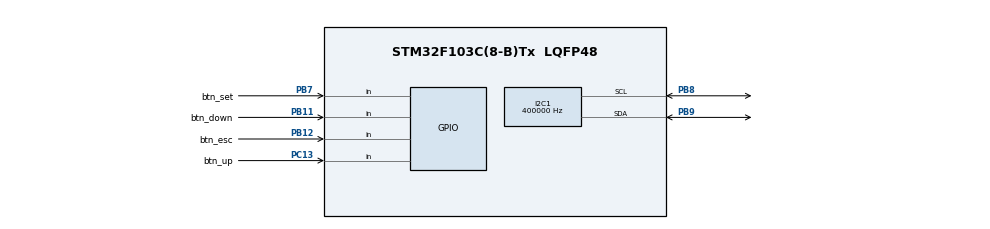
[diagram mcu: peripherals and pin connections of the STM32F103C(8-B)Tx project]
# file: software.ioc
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I2C1.ClockSpeed=400000
I2C1.I2C_Mode=I2C_Fast
Mcu.Family=STM32F1
Mcu.Name=STM32F103C(8-B)Tx
Mcu.Package=LQFP48
NVIC.PriorityGroup=NVIC_PRIORITYGROUP_4
NVIC.TIM1_BRK_IRQn=true\:0\:0\:false\:false\:true\:true\:true\:true
NVIC.TIM1_UP_IRQn=true\:0\:0\:false\:false\:true\:true\:true\:true
PA13.Mode=Serial_Wire
PA13.Signal=SYS_JTMS-SWDIO
PA14.Mode=Serial_Wire
PA14.Signal=SYS_JTCK-SWCLK
PB11.GPIO_Label=btn_down
PB11.GPIO_PuPd=GPIO_PULLDOWN
PB11.Signal=GPIO_Input
PB12.GPIO_Label=btn_esc
PB12.GPIO_PuPd=GPIO_PULLDOWN
PB12.Signal=GPIO_Input
PB7.GPIO_Label=btn_set
PB7.GPIO_PuPd=GPIO_PULLDOWN
PB7.Signal=GPIO_Input
PB8.Mode=I2C
PB8.Signal=I2C1_SCL
PB9.Mode=I2C
PB9.Signal=I2C1_SDA
PC13-TAMPER-RTC.GPIO_Label=btn_up
PC13-TAMPER-RTC.GPIO_PuPd=GPIO_PULLDOWN
PC13-TAMPER-RTC.Signal=GPIO_Input
PD0-OSC_IN.Mode=HSE-External-Oscillator
PD0-OSC_IN.Signal=RCC_OSC_IN
PD1-OSC_OUT.Mode=HSE-External-Oscillator
PD1-OSC_OUT.Signal=RCC_OSC_OUT
ProjectManager.HeapSize=0x200
ProjectManager.StackSize=0x400
ProjectManager.TargetToolchain=STM32CubeIDE
RCC.APB1Freq_Value=8000000
RCC.APB2Freq_Value=8000000
TIM1.Period=1999
TIM1.Prescaler=3999
VP_TIM1_VS_ClockSourceINT.Mode=Internal
board=custom

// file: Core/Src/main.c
/* USER CODE BEGIN Header */
/**
  ******************************************************************************
  * @file           : main.c
  * @brief          : Main program body
  ******************************************************************************
  * @attention
  *
  * Copyright (c) 2022 STMicroelectronics.
  * All rights reserved.
  *
  * This software is licensed under terms that can be found in the LICENSE file
  * in the root directory of this software component.
  * If no LICENSE file comes with this software, it is provided AS-IS.
  *
  ******************************************************************************
  */
/* USER CODE END Header */
#include "main.h"

/* USER CODE BEGIN Includes */

#include "ssd1306.h"
#include "fonts.h"
#include "test.h"

/* USER CODE END Includes */

/* USER CODE BEGIN PM */
#define UP_BUTON HAL_GPIO_ReadPin(GPIOC,GPIO_PIN_13)
#define DOWN_BUTON HAL_GPIO_ReadPin(GPIOB,GPIO_PIN_11)
#define ESC_BUTON HAL_GPIO_ReadPin(GPIOB,GPIO_PIN_12)
#define SET_BUTON HAL_GPIO_ReadPin(GPIOB,GPIO_PIN_7)
#define MAX_VALUE_INDEX 5
#define MAX_ROW_INDEX 15
#define PAGE_VALUE 4
#define MAX_SIZE 8
#define MAX_BYTE 20
#define SIZE 2
/* USER CODE END PM */

I2C_HandleTypeDef hi2c1;

TIM_HandleTypeDef htim1;

/* USER CODE BEGIN PV */
/*
 * DEGISKENLER
 * */

typedef struct menu_variable{
	char index[15];
	int menu_id;
	int adc_sensor_value;
}menu;

typedef enum menu_titles{
	mainmenu=0,
	DEVICE_SETTINGS,
	TEMP_SETTINGS,
	LIMIT_SETTINGS,
	CO2_SETTINGS,
	ABOUT,
	device_adress,
	device_calibration,
	device_reset,
	device_factory_reset,
	temp_offset,
	limits_temp,
	limits_co2,
	co2_temp_offset,
	co2_altitute,
	co2_calibration,
	co2_offsett,

}title_menu;

int main_menu_flag = 0;
int page_memory;
int buton_up_flag=0;
int buton_down_flag=0;
int buton_esc_flag=0;
int buton_set_flag=0;
/*MENULER*/

//ANA MENU
menu main_menu[6]={{"Device Settings"},{"Temp Settings"},{"Limit Settings"},{"Co2 Settings"},{"About"}};

//DEVICE SETTINGS
menu device_menu[5]={{"DEVICE SETTINGS"},{"Address"},{"4-20 Calibration"},{"Factory Reset"},{"Reset"}};
menu device_menu_address[5]={{"device ADDRESS","1"}};
menu device_menu_calibration[5]={{"111 ppm"}};
menu device_factory[5]={{"111 ppm"}};
menu device_menu_reset[6]={{"resetADDRESS","1"}};

//TEMP SETTINGS
menu Temp_menu[6]={{"TEMP SETTINGS"},{"Offset"},{5}};
menu temp_menu_offset[6]={{"TEMP OFSET","0.0C"},{6}};

//LIMIT SETTINGS
menu limits_menu[6]={{"LIMITS"},{"Temp Limits"},{"Co2 Limits"},{7}};
menu limits_menu_temp_limits[6]={{"TEMP LIMITS"},{"LOW:123"},{"HIGH:123"},{8}};
menu limits_menu_co2_limits[6]={{"CO2 LIMITS"},{"LOW:123"},{"HIGH:123"},{9}};

//CO2 SETTINGS
menu co2_settings_menu[6]={{"CO2 SETTINGS"},{"Temp Offset"},{"Altitute"},{"Calibration"},{"Offset"},{10}};
menu co2_settings_menu_temp_offset[6]={{"CO2 TEMP."},{"11"},{11}};
menu co2_settings_menu_altitute[5]={{"ALTITUDE","11"}};
menu co2_settings_menu_calibration[5]={{"CO2 CALIB.","400"}};
menu co2_settings_menu_offset[5]={{"OFFSET","400"}};

//ABOUT
menu about_menu[5]={{"CANTEK VER 1.0"}};
int page_count = 0;
int menu_index = 0;
int button_flag=0;
int buton_select_flag=0;

int buton_time_flag = 0;
uint8_t crossIndexLine[6]={0,10,20,30,40,50};
int time_buton=0;
/* USER CODE END PV */

void SystemClock_Config(void);
static void MX_GPIO_Init(void);
static void MX_I2C1_Init(void);
static void MX_TIM1_Init(void);

/* USER CODE BEGIN 0 */

#define LCD_WIDTH 128
#define LCD_HEIGHT 64
#define PIXEL LCD_HEIGHT*LCD_HEIGHT

//İlk kelimenin boyutunu bulma
int length(char *s){
    if(*s != '\0' && *s !=' ')
    {
        return (1+length(s+1));
    }
    else{
        return 0;
    }
}

void submenus_set(int menuindex_lower_limit,int page_count_lower_limit,int total_number_of_menus)
{
	if(buton_set_flag)
	{
		if(menu_index == menuindex_lower_limit)
		{
			page_count=page_count_lower_limit;
			buton_set_flag=0;
		}

		else{
			menuindex_lower_limit++;
			page_count_lower_limit++;
			total_number_of_menus--;
			if(total_number_of_menus>0)
			{
				submenus_set(menuindex_lower_limit, page_count_lower_limit, total_number_of_menus);
			}

		}
	}

}

void submenus_esc(int back_to_page)
{
	if(buton_esc_flag)
	{
		page_count=back_to_page;
		buton_esc_flag=0;
	}
}

void lcd_print(menu p[])
{
    for(int i = 0;i<5;i++){

    	SSD1306_GotoXY(10,crossIndexLine[i]);
        SSD1306_Puts(p[i].index,&Font_7x10,1);
        SSD1306_UpdateScreen();

    }
}

void page_buffer_choice(int choice_menu)
{

	if( buton_set_flag)
	{
		menu_choice(choice_menu);
	}
	else if(buton_esc_flag)
	{
		menu_choice(choice_menu);
	}
}

void menu_choice(int index_choice)
{
	SSD1306_Clear();
	switch(index_choice)
	{
		case mainmenu:
			lcd_print(main_menu);
			submenus_set(0, 1, 5);

			break;
		case DEVICE_SETTINGS:
			lcd_print(device_menu);
			submenus_set(0, 6, 4);
			submenus_esc(0);

			break;
		case TEMP_SETTINGS:
			lcd_print(Temp_menu);
			submenus_set(0, 10, 1);
			submenus_esc(0);

			break;
		case LIMIT_SETTINGS:
			lcd_print(limits_menu);
			submenus_set(1, 11, 2);
			submenus_esc(0);
			break;
		case CO2_SETTINGS:
			lcd_print(co2_settings_menu);
			submenus_set(1, 13, 4);
			submenus_esc(0);
			break;
		case ABOUT:
			lcd_print(about_menu);
			submenus_esc(0);
			break;
		case device_adress:
			lcd_print(device_menu_address);
			submenus_esc(1);
			break;
		case device_calibration:
			lcd_print(device_menu_calibration);
			submenus_esc(1);
			break;
		case device_reset:
			lcd_print(device_menu_reset);
			submenus_esc(1);
			break;
		case device_factory_reset:
			lcd_print(device_factory);
			submenus_esc(1);
		case temp_offset:
			lcd_print(temp_menu_offset);
			submenus_esc(2);
			break;
		case limits_temp:
			lcd_print(limits_menu_temp_limits);
			submenus_esc(3);
			break;
		case limits_co2:
			lcd_print(limits_menu_co2_limits);
			submenus_esc(3);
			break;
		case co2_temp_offset:
			lcd_print(co2_settings_menu_temp_offset);
			submenus_esc(4);
			break;
		case co2_altitute:
			lcd_print(co2_settings_menu_altitute);
			submenus_esc(4);
			break;
		case co2_calibration:
			lcd_print(co2_settings_menu_calibration);
			submenus_esc(4);
			break;
		case co2_offsett:
			lcd_print(co2_settings_menu_offset);
			submenus_esc(4);
			break;
	}
}

void cross_clear(int index)
{
	 static int menu_index_memory;

	  SSD1306_GotoXY(0,crossIndexLine[index]);
	  SSD1306_Puts(">",&Font_7x10,1);
	  if(index!=menu_index_memory)
	  {
		  SSD1306_GotoXY(0,crossIndexLine[menu_index_memory]);
		  SSD1306_Puts(" ",&Font_7x10,1);
	  }
	  SSD1306_UpdateScreen();
	  menu_index_memory=index;

}

int buton_flag_function()
{
	if(!DOWN_BUTON)
	{
		buton_down_flag=1;
		return 1;
	}
	else if(!UP_BUTON)
	{
		buton_up_flag=1;
		return 2;
	}

	else if(!ESC_BUTON)
	{
		buton_esc_flag=1;
		return 3;
	}
	else if(!SET_BUTON)
	{
		buton_set_flag=1;

		return 4;
	}
	else {
		return 0;
	}
}

void buton_flag(){
	button_flag=buton_flag_function();

	if(button_flag==0)
	{

		if(buton_up_flag)
		{
			menu_index--;
			if(menu_index>MAX_VALUE_INDEX-1)
			{
				menu_index=0;
			}
			buton_up_flag=0;
		}
		else if(buton_down_flag)
		{
			menu_index++;
			if(menu_index>MAX_VALUE_INDEX-1)
			{
				menu_index=0;
			}
			buton_down_flag=0;
		}
		else if(buton_esc_flag)
		{
			buton_esc_flag = 0;
		}
		else if(buton_set_flag)
		{

			buton_set_flag = 0;
		}
		cross_clear(menu_index);
	}

}

/*int length(char *s){
    if(*s != '\0' && *s !=' ')
    {
        return (1+length(s+1));
    }
    else{
        return 0;
    }
}
*/

char str1 [MAX_SIZE][MAX_BYTE] ={"CO2 settings"};
char str2 [MAX_SIZE][MAX_BYTE] ={"TEMP about"};
void temp(char *str_1,char *str_2)
{
	int word_2_length=strlen(str2);
	   for(int i = 0;i<word_2_length;i++){
		   *(str_1+i)=*(str_2+i);
	   }
}

/*void temp(char *arr,char *arr2)
{
    char memory;
    int length1=strlen(arr)-1;
   int length2=strlen(arr+MAX_SIZE)-1;
   int length3=strlen(arr2)-1;
  int length4=strlen(arr2+MAX_SIZE)-1;

     memory=*(arr+length1);
    *(arr+length1)=*(arr+MAX_SIZE+length2);
    *(arr+MAX_SIZE+length2)=memory;
}
*/

/* USER CODE END 0 */

int main(void)
{

  /* MCU Configuration--------------------------------------------------------*/

  /* Reset of all peripherals, Initializes the Flash interface and the Systick. */
  HAL_Init();

  /* Configure the system clock */
  SystemClock_Config();

  /* Initialize all configured peripherals */
  MX_GPIO_Init();
  MX_I2C1_Init();
  MX_TIM1_Init();
  /* USER CODE BEGIN 2 */
  HAL_TIM_Base_Start_IT(&htim1);
  SSD1306_Init();

  /* USER CODE END 2 */

  /* Infinite loop */
  while (1)
  {

    /* USER CODE BEGIN 3 */

	   if(main_menu_flag)
	  {
		  buton_flag();
		  page_buffer_choice(page_count);

	  }

	 // temp2(str1,str2);

  }
  /* USER CODE END 3 */
}

void SystemClock_Config(void)
{
  RCC_OscInitTypeDef RCC_OscInitStruct = {0};
  RCC_ClkInitTypeDef RCC_ClkInitStruct = {0};

  /** Initializes the RCC Oscillators according to the specified parameters
  * in the RCC_OscInitTypeDef structure.
  */
  RCC_OscInitStruct.OscillatorType = RCC_OSCILLATORTYPE_HSI;
  RCC_OscInitStruct.HSIState = RCC_HSI_ON;
  RCC_OscInitStruct.HSICalibrationValue = RCC_HSICALIBRATION_DEFAULT;
  RCC_OscInitStruct.PLL.PLLState = RCC_PLL_NONE;
  if (HAL_RCC_OscConfig(&RCC_OscInitStruct) != HAL_OK)
  {
    Error_Handler();
  }

  /** Initializes the CPU, AHB and APB buses clocks
  */
  RCC_ClkInitStruct.ClockType = RCC_CLOCKTYPE_HCLK|RCC_CLOCKTYPE_SYSCLK
                              |RCC_CLOCKTYPE_PCLK1|RCC_CLOCKTYPE_PCLK2;
  RCC_ClkInitStruct.SYSCLKSource = RCC_SYSCLKSOURCE_HSI;
  RCC_ClkInitStruct.AHBCLKDivider = RCC_SYSCLK_DIV1;
  RCC_ClkInitStruct.APB1CLKDivider = RCC_HCLK_DIV1;
  RCC_ClkInitStruct.APB2CLKDivider = RCC_HCLK_DIV1;

  if (HAL_RCC_ClockConfig(&RCC_ClkInitStruct, FLASH_LATENCY_0) != HAL_OK)
  {
    Error_Handler();
  }
}

static void MX_I2C1_Init(void)
{

  hi2c1.Instance = I2C1;
  hi2c1.Init.ClockSpeed = 400000;
  hi2c1.Init.DutyCycle = I2C_DUTYCYCLE_2;
  hi2c1.Init.OwnAddress1 = 0;
  hi2c1.Init.AddressingMode = I2C_ADDRESSINGMODE_7BIT;
  hi2c1.Init.DualAddressMode = I2C_DUALADDRESS_DISABLE;
  hi2c1.Init.OwnAddress2 = 0;
  hi2c1.Init.GeneralCallMode = I2C_GENERALCALL_DISABLE;
  hi2c1.Init.NoStretchMode = I2C_NOSTRETCH_DISABLE;
  if (HAL_I2C_Init(&hi2c1) != HAL_OK)
  {
    Error_Handler();
  }

}

static void MX_TIM1_Init(void)
{

  TIM_ClockConfigTypeDef sClockSourceConfig = {0};
  TIM_MasterConfigTypeDef sMasterConfig = {0};

  htim1.Instance = TIM1;
  htim1.Init.Prescaler = 3999;
  htim1.Init.CounterMode = TIM_COUNTERMODE_UP;
  htim1.Init.Period = 1999;
  htim1.Init.ClockDivision = TIM_CLOCKDIVISION_DIV1;
  htim1.Init.RepetitionCounter = 0;
  htim1.Init.AutoReloadPreload = TIM_AUTORELOAD_PRELOAD_DISABLE;
  if (HAL_TIM_Base_Init(&htim1) != HAL_OK)
  {
    Error_Handler();
  }
  sClockSourceConfig.ClockSource = TIM_CLOCKSOURCE_INTERNAL;
  if (HAL_TIM_ConfigClockSource(&htim1, &sClockSourceConfig) != HAL_OK)
  {
    Error_Handler();
  }
  sMasterConfig.MasterOutputTrigger = TIM_TRGO_RESET;
  sMasterConfig.MasterSlaveMode = TIM_MASTERSLAVEMODE_DISABLE;
  if (HAL_TIMEx_MasterConfigSynchronization(&htim1, &sMasterConfig) != HAL_OK)
  {
    Error_Handler();
  }

}

static void MX_GPIO_Init(void)
{
  GPIO_InitTypeDef GPIO_InitStruct = {0};

  /* GPIO Ports Clock Enable */
  __HAL_RCC_GPIOC_CLK_ENABLE();
  __HAL_RCC_GPIOD_CLK_ENABLE();
  __HAL_RCC_GPIOB_CLK_ENABLE();
  __HAL_RCC_GPIOA_CLK_ENABLE();

  /*Configure GPIO pin : btn_up_Pin */
  GPIO_InitStruct.Pin = btn_up_Pin;
  GPIO_InitStruct.Mode = GPIO_MODE_INPUT;
  GPIO_InitStruct.Pull = GPIO_PULLDOWN;
  HAL_GPIO_Init(btn_up_GPIO_Port, &GPIO_InitStruct);

  /*Configure GPIO pins : btn_down_Pin btn_esc_Pin btn_set_Pin */
  GPIO_InitStruct.Pin = btn_down_Pin|btn_esc_Pin|btn_set_Pin;
  GPIO_InitStruct.Mode = GPIO_MODE_INPUT;
  GPIO_InitStruct.Pull = GPIO_PULLDOWN;
  HAL_GPIO_Init(GPIOB, &GPIO_InitStruct);

}

/* USER CODE BEGIN 4 */
int time_count = 0;
void HAL_TIM_PeriodElapsedCallback(TIM_HandleTypeDef *htim)
{
	if(!SET_BUTON)
	{
		time_buton++;
	}
	else
	{
		time_buton=0;
		buton_set_flag=0;
	}

	if(time_buton == 5)
	{
		buton_set_flag=1;
		main_menu_flag=1;
		time_buton=0;
	}

}

/* USER CODE END 4 */

void Error_Handler(void)
{
  __disable_irq();
  while (1)
  {
  }
}
